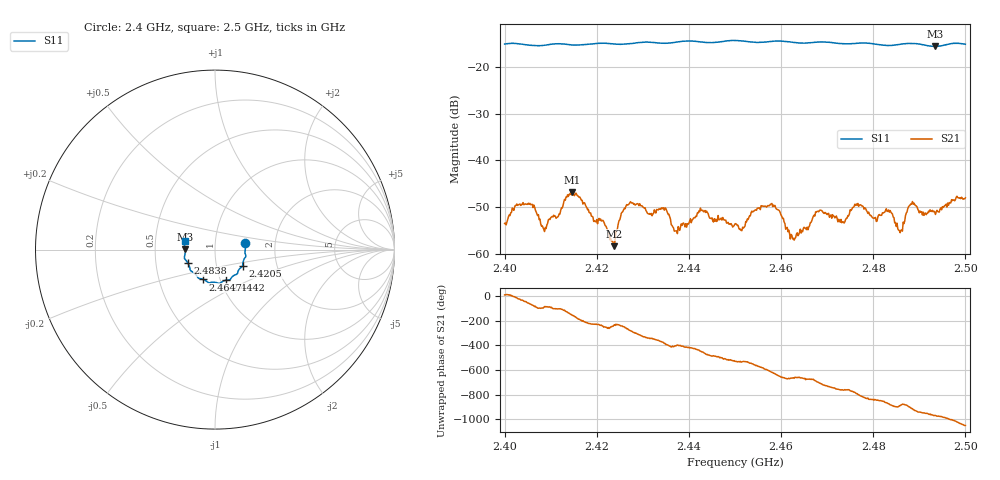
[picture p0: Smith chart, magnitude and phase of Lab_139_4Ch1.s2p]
# Hz S RI R 50
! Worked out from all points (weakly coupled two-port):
!   601 points, 2.4 GHz to 2.5 GHz, reference 50 ohm
!   highest |S21| = -46.83 dB at 2.4147 GHz (marker M1); lowest = -58.3 dB at 2.4237 GHz (marker M2)
!   lowest |S11| = -15.7 dB at 2.4935 GHz (marker M3), VSWR 1.39, Z = 35.9 + j0.107 ohm
!   |S11| at or under -10 dB: start of sweep to end of sweep
!   S12 and S22 are empty: the file has one direction only
!   S11 on the Smith chart (normalised r, x): 2.4 GHz: 1.40, +0.11; 2.4205 GHz: 1.34, -0.25; 2.4442 GHz: 1.06, -0.37; 2.4647 GHz: 0.83, -0.29; 2.4838 GHz: 0.73, -0.11; 2.5 GHz: 0.71, +0.07
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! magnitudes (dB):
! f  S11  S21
! 2.4 GHz  -15.2  -53.5
! 2.4055 GHz  -15.4  -49.2
! 2.4087 GHz  -15.4  -55.2
! 2.4147 GHz  -15.4  -46.8
! 2.4167 GHz  -15.3  -48.5
! 2.4205 GHz  -15.0  -52.4
! 2.4237 GHz  -15.1  -58.3
! 2.4268 GHz  -15.1  -49.5
! 2.4333 GHz  -14.9  -50.6
! 2.437 GHz  -14.8  -55.1
! 2.4442 GHz  -14.9  -51.4
! 2.45 GHz  -14.4  -53.5
! 2.4582 GHz  -14.6  -49.9
! 2.4625 GHz  -14.8  -56.8
! 2.4647 GHz  -15.0  -55.2
! 2.4667 GHz  -14.9  -52.9
! 2.4833 GHz  -15.5  -50.6
! 2.4838 GHz  -15.5  -51.1
! 2.4858 GHz  -15.2  -55.4
! 2.4883 GHz  -15.0  -49.3
! 2.4935 GHz  -15.7  -51.5
! 2.5 GHz  -15.2  -48.0
